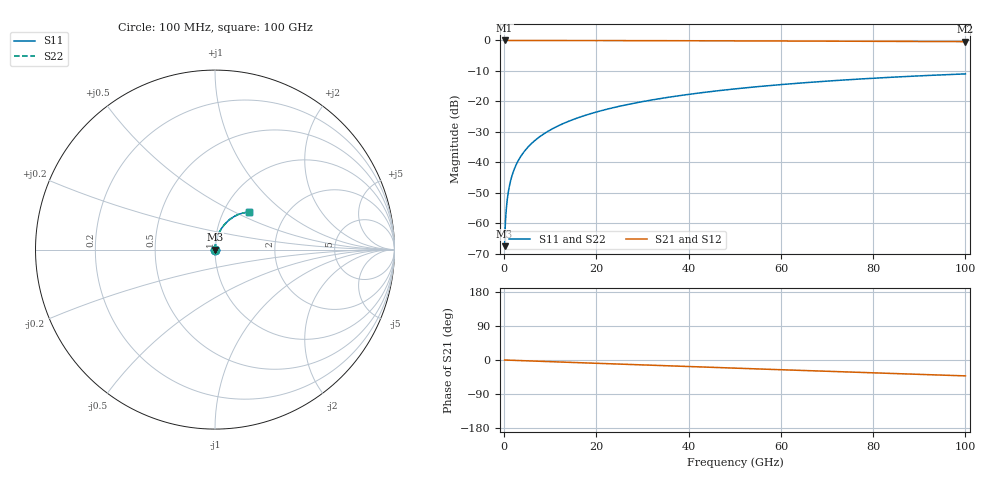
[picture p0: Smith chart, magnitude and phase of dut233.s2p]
! Touchstone file exported from HFSS 2026.1.0
!  File:  C:/ffzhzh/LocalFiles/Ansys_Project_Files/temp_train_TSV_233_1783508022_9504.aedt
!  Generated:  06:55:05 PM Jul  8, 2026
!  Design:  TSV
!  Project:  temp_train_TSV_233_1783508022_9504
! Variables:
!  h_bsmrdl = 2um
!  h_ox = 20um
!  h_rdl = 5um
!  h_sub = 72.33um
!  h_tmrdl = 5um
!  h_tsv = 72.33um
!  h_via = 3um
!  l_bsmrdl = 300um
!  l_sub = 414.32um
!  l_tmrdl = 200um
!  m_sub = 200um
!  pitch = 55.22um
!  r_tsv = 7.16um
!  s_tmrdl = 10um
!  w_bsmrdl = 18um
!  w_sub = 500um
!  w_tmrdl = 12um
!  x_tsv_center1 = 206um
!  x_tsv_center2 = 524um
!  x_tsv_center3 = 736um
!  x_tsv_center4 = 1054um
!  x_tsv_center5 = 1266um
!  x_tsv_center6 = 1584um
# GHz S MA R 50.000000
! Terminal data exported
! Port[1] = TSV1_1_T1
! Port[2] = TSV1_1_T2
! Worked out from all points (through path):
!   1000 points, 100 MHz to 100 GHz, reference 50 ohm
!   highest |S21| = 0.00 dB at 100 MHz (marker M1); lowest = -0.4 dB at 100 GHz (marker M2)
!   group delay of S21, straight-line fit = 1.17 ps
!   lowest |S11| = -67.5 dB at 100 MHz (marker M3), VSWR 1.00, Z = 50 + j0.0376 ohm
!   |S11| at or under -10 dB: start of sweep to end of sweep
!   |S22| runs from -67.5 to -11.0 dB; largest |S21 - S12| = 5.8e-15
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0.1  0.0004237 62.5  0.9998 -0.0  0.9998 -0.0  0.0004237 62.5
! Gamma 0 0 0 0
! Port Impedance 50 0 50 0
0.3  0.001135 78.6  0.9998 -0.1  0.9998 -0.1  0.001135 78.6
0.7  0.002556 83.5  0.9997 -0.3  0.9997 -0.3  0.002556 83.5
0.8  0.002909 84.0  0.9997 -0.4  0.9997 -0.4  0.002909 84.0
1  0.003614 84.6  0.9997 -0.4  0.9997 -0.4  0.003614 84.6
1.3  0.004666 85.1  0.9996 -0.6  0.9996 -0.6  0.004666 85.1
1.7  0.006059 85.4  0.9996 -0.8  0.9996 -0.8  0.006059 85.4
2.3  0.008128 85.6  0.9995 -1.0  0.9995 -1.0  0.008128 85.6
3  0.01052 85.6  0.9994 -1.3  0.9994 -1.3  0.01052 85.6
3.8  0.01323 85.6  0.9993 -1.7  0.9993 -1.7  0.01323 85.6
4.8  0.01661 85.4  0.9991 -2.1  0.9991 -2.1  0.01661 85.4
6  0.02065 85.2  0.999 -2.6  0.999 -2.6  0.02065 85.2
8.8  0.03005 84.3  0.9986 -3.9  0.9986 -3.9  0.03005 84.3
12.4  0.04206 83.0  0.998 -5.4  0.998 -5.4  0.04206 83.0
16.8  0.05661 81.3  0.9971 -7.3  0.9971 -7.3  0.05661 81.3
24.2  0.08077 78.4  0.9951 -10.5  0.9951 -10.5  0.08077 78.4
33.4  0.1101 74.6  0.992 -14.4  0.992 -14.4  0.1101 74.6
41.2  0.1343 71.4  0.9889 -17.8  0.9889 -17.8  0.1343 71.4
50.1  0.1608 67.7  0.9847 -21.5  0.9847 -21.5  0.1608 67.7
66.7  0.2069 60.9  0.9758 -28.4  0.9758 -28.4  0.2069 60.9
83.4  0.248 54.1  0.9659 -35.3  0.9659 -35.3  0.248 54.1
100  0.2829 47.6  0.956 -41.9  0.956 -41.9  0.2829 47.6
